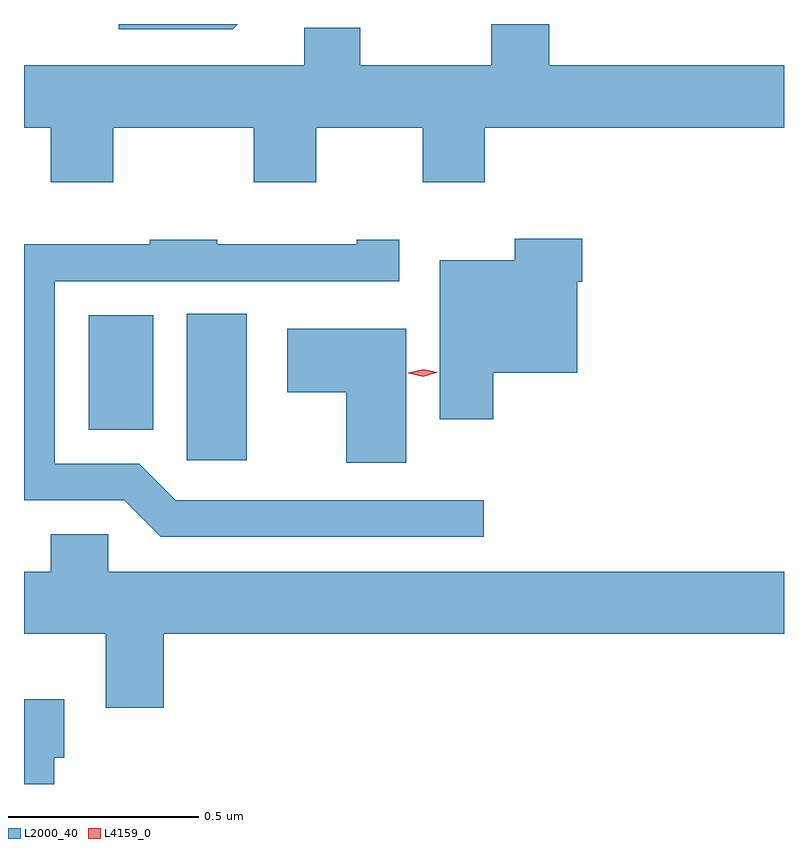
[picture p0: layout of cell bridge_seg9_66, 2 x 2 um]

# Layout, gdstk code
import gdstk
lib = gdstk.Library(unit=1e-6, precision=1e-09)
def R(c, l, rs):  # rectangles x0, y0, x1, y1
    for r in rs: c.add(gdstk.rectangle(r[:2], r[2:], *l))
def P(c, l, *ps):  # polygons
    for p in ps: c.add(gdstk.Polygon(p, *l))
L2000_40 = (2000, 40)
L4159_0 = (4159, 0)

bridge_seg9_66 = lib.new_cell('bridge_seg9_66')
R(bridge_seg9_66, L2000_40, [(1083.11,1182.225,1083.268,1182.611), (1082.852,1182.305,1083.022,1182.607)])
P(bridge_seg9_66, L2000_40, [(1082.917,1183.1),(1083.287,1183.1),(1083.287,1182.957),(1083.451,1182.957),(1083.451,1183.1),(1083.731,1183.1),(1083.731,1182.957),(1083.895,1182.957),(1083.895,1183.1),(1084.682,1183.1),(1084.682,1183.264),(1084.064,1183.264),(1084.064,1183.373),(1083.911,1183.373),(1083.911,1183.264),(1083.567,1183.264),(1083.567,1183.363),(1083.419,1183.363),(1083.419,1183.264),(1082.682,1183.264),(1082.682,1183.1),(1082.753,1183.1),(1082.753,1182.957),(1082.917,1182.957)],
  [(1083.245,1183.373),(1082.931,1183.373),(1082.931,1183.359),(1083.231,1183.359)],
  [(1083.917,1182.455),(1084.138,1182.455),(1084.138,1182.695),(1084.151,1182.695),(1084.151,1182.808),(1083.973,1182.808),(1083.973,1182.751),(1083.776,1182.751),(1083.776,1182.333),(1083.917,1182.333)],
  [(1083.892,1182.12),(1083.081,1182.12),(1082.985,1182.216),(1082.763,1182.216),(1082.763,1182.696),(1083.67,1182.696),(1083.67,1182.805),(1083.557,1182.805),(1083.557,1182.793),(1083.191,1182.793),(1083.191,1182.805),(1083.013,1182.805),(1083.013,1182.793),(1082.682,1182.793),(1082.682,1182.12),(1082.946,1182.12),(1083.042,1182.024),(1083.892,1182.024)],
  [(1083.688,1182.571),(1083.375,1182.571),(1083.375,1182.404),(1083.53,1182.404),(1083.53,1182.219),(1083.688,1182.219)],
  [(1083.05,1181.768),(1084.682,1181.768),(1084.682,1181.932),(1082.904,1181.932),(1082.904,1182.03),(1082.753,1182.03),(1082.753,1181.932),(1082.682,1181.932),(1082.682,1181.768),(1082.897,1181.768),(1082.897,1181.574),(1083.05,1181.574)],
  [(1082.761,1181.442),(1082.788,1181.442),(1082.788,1181.596),(1082.682,1181.596),(1082.682,1181.373),(1082.761,1181.373)])
P(bridge_seg9_66, L4159_0, [(1083.732,1182.445),(1083.693,1182.454),(1083.692,1182.455),(1083.693,1182.455),(1083.732,1182.465),(1083.771,1182.456),(1083.771,1182.456),(1083.771,1182.456)])

lib.write_gds('bridge_seg9_66.gds')
